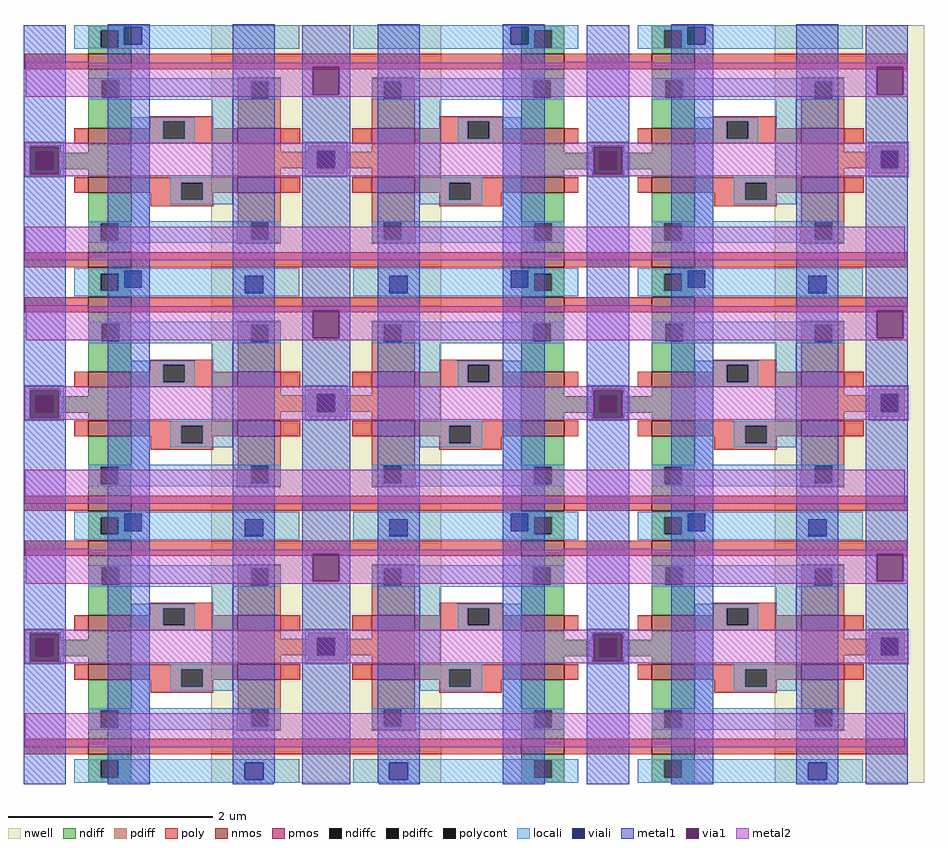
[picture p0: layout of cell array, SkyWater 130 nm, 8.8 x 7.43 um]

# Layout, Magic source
magic
tech sky130A
use cell_1rw  cell_1rw_8
transform 1 0 120 0 1 548
box -124 -72 205 195
use cell_1rw  cell_1rw_7
transform -1 0 463 0 1 548
box -124 -72 205 195
use cell_1rw  cell_1rw_6
transform 1 0 671 0 1 548
box -124 -72 205 195
use cell_1rw  cell_1rw_3
transform 1 0 671 0 1 310
box -124 -72 205 195
use cell_1rw  cell_1rw_4
transform -1 0 463 0 1 310
box -124 -72 205 195
use cell_1rw  cell_1rw_5
transform 1 0 120 0 1 310
box -124 -72 205 195
use cell_1rw  cell_1rw_2
transform 1 0 671 0 1 72
box -124 -72 205 195
use cell_1rw  cell_1rw_1
transform -1 0 463 0 1 72
box -124 -72 205 195
use cell_1rw  cell_1rw_0
transform 1 0 120 0 1 72
box -124 -72 205 195
<< end >>

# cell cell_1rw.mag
magic
tech sky130A
magscale 1 2
<< nwell >>
rect 118 -142 410 388
<< nmos >>
rect -122 302 -38 332
rect -122 156 -38 186
rect -122 60 -38 90
rect -122 -86 -38 -56
<< pmos >>
rect 170 156 254 186
rect 170 60 254 90
<< ndiff >>
rect -122 378 -38 388
rect -122 344 -98 378
rect -64 344 -38 378
rect -122 332 -38 344
rect -122 280 -38 302
rect -122 246 -96 280
rect -62 246 -38 280
rect -122 186 -38 246
rect -238 140 -176 154
rect -238 106 -225 140
rect -191 138 -176 140
rect -122 138 -38 156
rect -191 106 -38 138
rect -238 94 -176 106
rect -122 90 -38 106
rect -122 0 -38 60
rect -122 -34 -98 0
rect -64 -34 -38 0
rect -122 -56 -38 -34
rect -122 -98 -38 -86
rect -122 -132 -98 -98
rect -64 -132 -38 -98
rect -122 -142 -38 -132
<< pdiff >>
rect 170 278 254 286
rect 170 244 196 278
rect 230 244 254 278
rect 170 186 254 244
rect 170 140 254 156
rect 308 142 372 152
rect 308 140 326 142
rect 170 108 326 140
rect 360 108 372 142
rect 170 90 254 108
rect 308 98 372 108
rect 170 2 254 60
rect 170 -8 196 2
rect 168 -32 196 -8
rect 230 -32 254 2
rect 168 -40 254 -32
<< ndiffc >>
rect -98 344 -64 378
rect -96 246 -62 280
rect -225 106 -191 140
rect -98 -34 -64 0
rect -98 -132 -64 -98
<< pdiffc >>
rect 196 244 230 278
rect 326 108 360 142
rect 196 -32 230 2
<< poly >>
rect -246 302 -122 332
rect -38 302 378 332
rect -2 200 122 210
rect -2 186 24 200
rect -150 156 -122 186
rect -38 166 24 186
rect 66 186 122 200
rect 66 166 170 186
rect -38 156 170 166
rect 254 156 292 186
rect -150 60 -122 90
rect -38 80 170 90
rect -38 60 60 80
rect 0 46 60 60
rect 102 60 170 80
rect 254 60 292 90
rect 102 46 122 60
rect 0 34 122 46
rect -248 -86 -122 -56
rect -38 -86 378 -56
<< polycont >>
rect 24 166 66 200
rect 60 46 102 80
<< locali >>
rect -150 384 290 388
rect -150 378 -52 384
rect -150 344 -98 378
rect -64 350 -52 378
rect -18 350 290 384
rect -64 344 290 350
rect -150 342 290 344
rect -122 280 254 284
rect -122 246 -96 280
rect -62 278 254 280
rect -62 246 196 278
rect -122 244 196 246
rect 230 244 254 278
rect -122 242 254 244
rect -38 200 86 208
rect -38 166 24 200
rect 66 166 86 200
rect -248 140 -170 160
rect -248 106 -225 140
rect -191 106 -170 140
rect -248 90 -170 106
rect -38 156 86 166
rect -38 4 -2 156
rect 120 90 160 242
rect 302 142 380 160
rect 302 108 326 142
rect 360 108 380 142
rect 302 90 380 108
rect 38 80 160 90
rect 38 46 60 80
rect 102 46 160 80
rect 38 38 160 46
rect -122 2 254 4
rect -122 0 196 2
rect -122 -34 -98 0
rect -64 -32 196 0
rect 230 -32 254 2
rect -64 -34 254 -32
rect -122 -38 254 -34
rect -150 -98 290 -96
rect -150 -132 -98 -98
rect -64 -102 290 -98
rect -64 -132 184 -102
rect -150 -136 184 -132
rect 220 -136 290 -102
rect -150 -142 290 -136
<< viali >>
rect -52 350 -18 384
rect -225 106 -191 140
rect 326 108 360 142
rect 184 -136 220 -102
<< metal1 >>
rect -248 150 -166 388
rect -248 96 -236 150
rect -180 96 -166 150
rect -248 -144 -166 96
rect -84 384 -2 390
rect -84 350 -52 384
rect -18 350 -2 384
rect -84 -144 -2 350
rect 160 -102 242 390
rect 160 -136 184 -102
rect 220 -136 242 -102
rect 160 -142 242 -136
rect 296 306 378 388
rect 296 252 317 306
rect 369 252 378 306
rect 296 142 378 252
rect 296 108 326 142
rect 360 108 378 142
rect 160 -144 240 -142
rect 296 -144 378 108
<< via1 >>
rect -236 140 -180 150
rect -236 106 -225 140
rect -225 106 -191 140
rect -191 106 -180 140
rect -236 96 -180 106
rect 317 252 369 306
<< metal2 >>
rect -244 314 -120 316
rect -244 306 378 314
rect -244 252 317 306
rect 369 252 378 306
rect -244 248 378 252
rect -246 150 378 158
rect -246 96 -236 150
rect -180 96 378 150
rect -246 92 378 96
rect -246 -72 372 -6
<< labels >>
rlabel locali -6 366 -6 366 1 BL
port 4 n
rlabel locali 148 -122 148 -122 1 BR
port 5 n
rlabel metal1 338 196 338 196 1 vdd
rlabel poly 60 324 60 324 1 WL
rlabel poly 70 -78 70 -78 1 WL
rlabel locali 56 246 56 246 1 Q
rlabel locali 70 0 70 0 1 QB
rlabel metal2 -204 -38 -204 -38 1 WL
rlabel metal1 -200 202 -200 202 1 gnd
<< end >>
